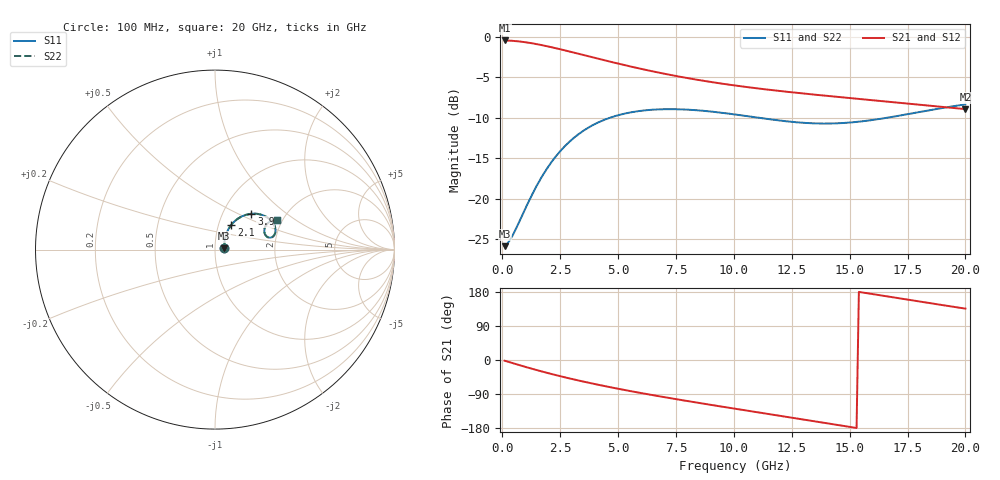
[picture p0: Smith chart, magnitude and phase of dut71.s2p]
! Created with skrf 1.9.0 (http://scikit-rf.org).
# GHz S RI R 50.0
!freq ReS11 ImS11 ReS21 ImS21 ReS12 ImS12 ReS22 ImS22
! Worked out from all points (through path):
!   200 points, 100 MHz to 20 GHz, reference 50 ohm
!   highest |S21| = -0.45 dB at 100 MHz (marker M1); lowest = -8.9 dB at 20 GHz (marker M2)
!   group delay of S21, straight-line fit = 29.4 ps
!   lowest |S11| = -25.9 dB at 100 MHz (marker M3), VSWR 1.11, Z = 55.3 + j0.758 ohm
!   |S11| at or under -10 dB: start of sweep to 4.651 GHz; 11.07 GHz to 16.62 GHz (5.554 GHz wide, 40.1 % of centre)
!   |S22| runs from -25.9 to -8.4 dB; largest |S21 - S12| = 2.5e-15
!   S11 on the Smith chart (normalised r, x): 100 MHz: 1.11, +0.02; 2.1 GHz: 1.15, +0.33; 3.9 GHz: 1.36, +0.59; 20 GHz: 1.86, +0.73
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0.1  0.0504 0.00683  0.9489 -0.0312  0.9489 -0.0312  0.0504 0.00683
0.2  0.0507 0.0131  0.9465 -0.0616  0.9465 -0.0616  0.0507 0.0131
0.4  0.0515 0.0259  0.9375 -0.122  0.9375 -0.122  0.0515 0.0259
1  0.0573 0.0657  0.8793 -0.2895  0.8793 -0.2895  0.0573 0.0657
1.6  0.0714 0.1069  0.7864 -0.4269  0.7864 -0.4269  0.0714 0.1069
2.1  0.0916 0.1389  0.6939 -0.5147  0.6939 -0.5147  0.0916 0.1389
2.8  0.1307 0.1744  0.5565 -0.5995  0.5565 -0.5995  0.1307 0.1744
3.5  0.1762 0.1948  0.4214 -0.6471  0.4214 -0.6471  0.1762 0.1948
3.9  0.2023 0.1996  0.348 -0.661  0.348 -0.661  0.2023 0.1996
4.6  0.2445 0.1977  0.229 -0.6673  0.229 -0.6673  0.2445 0.1977
5.3  0.2796 0.1859  0.1229 -0.6562  0.1229 -0.6562  0.2796 0.1859
6  0.306 0.1682  0.0297 -0.6328  0.0297 -0.6328  0.306 0.1682
6.8  0.3256 0.1448  -0.0623 -0.5958  -0.0623 -0.5958  0.3256 0.1448
7.6  0.3353 0.1216  -0.1405 -0.5516  -0.1405 -0.5516  0.3353 0.1216
8.4  0.3369 0.1011  -0.2068 -0.5024  -0.2068 -0.5024  0.3369 0.1011
10.1  0.3226 0.0724  -0.3145 -0.3876  -0.3145 -0.3876  0.3226 0.0724
11.7  0.3 0.0671  -0.3807 -0.2714  -0.3807 -0.2714  0.3 0.0671
13.4  0.2804 0.082  -0.4164 -0.1439  -0.4164 -0.1439  0.2804 0.082
15  0.2748 0.1081  -0.4177 -0.0258  -0.4177 -0.0258  0.2748 0.1081
16.7  0.2861 0.138  -0.3866 0.0889  -0.3866 0.0889  0.2861 0.138
18.4  0.3123 0.1597  -0.3279 0.184  -0.3279 0.184  0.3123 0.1597
20  0.344 0.1669  -0.2554 0.2502  -0.2554 0.2502  0.344 0.1669
